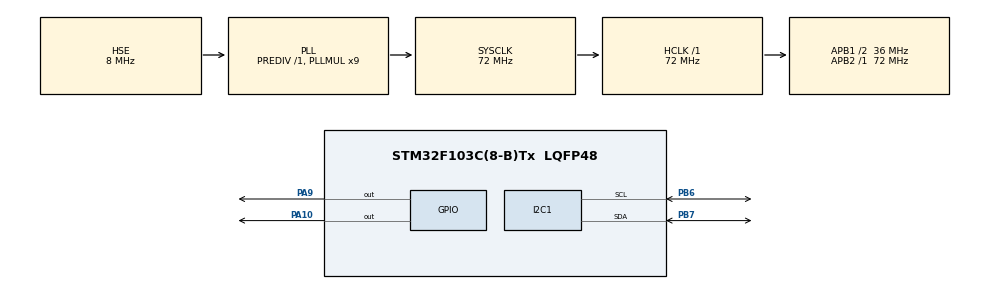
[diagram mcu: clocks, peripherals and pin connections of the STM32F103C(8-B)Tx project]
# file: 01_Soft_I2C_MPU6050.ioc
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Mcu.Family=STM32F1
Mcu.Name=STM32F103C(8-B)Tx
Mcu.Package=LQFP48
NVIC.I2C1_ER_IRQn=true\:0\:0\:false\:false\:true\:true\:true\:true
NVIC.I2C1_EV_IRQn=true\:0\:0\:false\:false\:true\:true\:true\:true
NVIC.PriorityGroup=NVIC_PRIORITYGROUP_4
PA10.GPIO_ModeDefaultOutputPP=GPIO_MODE_OUTPUT_OD
PA10.GPIO_PuPd=GPIO_NOPULL
PA10.GPIO_Speed=GPIO_SPEED_FREQ_HIGH
PA10.Signal=GPIO_Output
PA9.GPIO_ModeDefaultOutputPP=GPIO_MODE_OUTPUT_OD
PA9.GPIO_PuPd=GPIO_NOPULL
PA9.GPIO_Speed=GPIO_SPEED_FREQ_HIGH
PA9.Signal=GPIO_Output
PB6.Mode=I2C
PB6.Signal=I2C1_SCL
PB7.Mode=I2C
PB7.Signal=I2C1_SDA
PD0-OSC_IN.Mode=HSE-External-Oscillator
PD0-OSC_IN.Signal=RCC_OSC_IN
PD1-OSC_OUT.Mode=HSE-External-Oscillator
PD1-OSC_OUT.Signal=RCC_OSC_OUT
ProjectManager.HeapSize=0x200
ProjectManager.StackSize=0x400
ProjectManager.TargetToolchain=MDK-ARM V5.32
RCC.AHBFreq_Value=72000000
RCC.APB1CLKDivider=RCC_HCLK_DIV2
RCC.APB1Freq_Value=36000000
RCC.APB1TimFreq_Value=72000000
RCC.APB2Freq_Value=72000000
RCC.APB2TimFreq_Value=72000000
RCC.HCLKFreq_Value=72000000
RCC.PLLMUL=RCC_PLL_MUL9
RCC.PLLSourceVirtual=RCC_PLLSOURCE_HSE
RCC.SYSCLKFreq_VALUE=72000000
RCC.SYSCLKSource=RCC_SYSCLKSOURCE_PLLCLK
RCC.USBFreq_Value=72000000
VP_SYS_VS_ND.Mode=No_Debug
board=custom

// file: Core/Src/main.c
/* USER CODE BEGIN Header */
/**
  ******************************************************************************
  * @file           : main.c
  * @brief          : Main program body
  ******************************************************************************
  * @attention
  *
  * Copyright (c) 2024 STMicroelectronics.
  * All rights reserved.
  *
  * This software is licensed under terms that can be found in the LICENSE file
  * in the root directory of this software component.
  * If no LICENSE file comes with this software, it is provided AS-IS.
  *
  ******************************************************************************
  */
/* USER CODE END Header */
#include "main.h"
#include "i2c.h"
#include "gpio.h"

/* USER CODE BEGIN Includes */
#include "OLED.h"
#include "MPU6050.h"
/* USER CODE END Includes */

void SystemClock_Config(void);

int main(void)
{
  /* USER CODE BEGIN 1 */
	uint8_t ID;								//定义用于存放ID号的变量
	int16_t AX, AY, AZ, GX, GY, GZ;			//定义用于存放各个数据的变量
  /* USER CODE END 1 */

  /* MCU Configuration--------------------------------------------------------*/

  /* Reset of all peripherals, Initializes the Flash interface and the Systick. */
  HAL_Init();

  /* Configure the system clock */
  SystemClock_Config();

  /* Initialize all configured peripherals */
  MX_GPIO_Init();
  MX_I2C1_Init();
  /* USER CODE BEGIN 2 */

	/*模块初始化*/
	OLED_Init();		//OLED初始化
	MPU6050_Init();		//MPU6050初始化
	OLED_Clear();
	/*显示ID号*/
	OLED_ShowString(1, 1, "ID:");		//显示静态字符串
	ID = MPU6050_GetID();				//获取MPU6050的ID号
	OLED_ShowHexNum(1, 4, ID, 2);		//OLED显示ID号

  /* USER CODE END 2 */

  /* Infinite loop */
  /* USER CODE BEGIN WHILE */
  while (1)
  {
	  	MPU6050_GetData(&AX, &AY, &AZ, &GX, &GY, &GZ);		//获取MPU6050的数据
		OLED_ShowSignedNum(2, 1, AX, 5);					//OLED显示数据
		OLED_ShowSignedNum(3, 1, AY, 5);
		OLED_ShowSignedNum(4, 1, AZ, 5);
		OLED_ShowSignedNum(2, 8, GX, 5);
		OLED_ShowSignedNum(3, 8, GY, 5);
		OLED_ShowSignedNum(4, 8, GZ, 5);
    /* USER CODE END WHILE */

  }
}

void SystemClock_Config(void)
{
  RCC_OscInitTypeDef RCC_OscInitStruct = {0};
  RCC_ClkInitTypeDef RCC_ClkInitStruct = {0};

  /** Initializes the RCC Oscillators according to the specified parameters
  * in the RCC_OscInitTypeDef structure.
  */
  RCC_OscInitStruct.OscillatorType = RCC_OSCILLATORTYPE_HSE;
  RCC_OscInitStruct.HSEState = RCC_HSE_ON;
  RCC_OscInitStruct.HSEPredivValue = RCC_HSE_PREDIV_DIV1;
  RCC_OscInitStruct.HSIState = RCC_HSI_ON;
  RCC_OscInitStruct.PLL.PLLState = RCC_PLL_ON;
  RCC_OscInitStruct.PLL.PLLSource = RCC_PLLSOURCE_HSE;
  RCC_OscInitStruct.PLL.PLLMUL = RCC_PLL_MUL9;
  if (HAL_RCC_OscConfig(&RCC_OscInitStruct) != HAL_OK)
  {
    Error_Handler();
  }

  /** Initializes the CPU, AHB and APB buses clocks
  */
  RCC_ClkInitStruct.ClockType = RCC_CLOCKTYPE_HCLK|RCC_CLOCKTYPE_SYSCLK
                              |RCC_CLOCKTYPE_PCLK1|RCC_CLOCKTYPE_PCLK2;
  RCC_ClkInitStruct.SYSCLKSource = RCC_SYSCLKSOURCE_PLLCLK;
  RCC_ClkInitStruct.AHBCLKDivider = RCC_SYSCLK_DIV1;
  RCC_ClkInitStruct.APB1CLKDivider = RCC_HCLK_DIV2;
  RCC_ClkInitStruct.APB2CLKDivider = RCC_HCLK_DIV1;

  if (HAL_RCC_ClockConfig(&RCC_ClkInitStruct, FLASH_LATENCY_2) != HAL_OK)
  {
    Error_Handler();
  }
}

void Error_Handler(void)
{
  __disable_irq();
  while (1)
  {
  }
}
